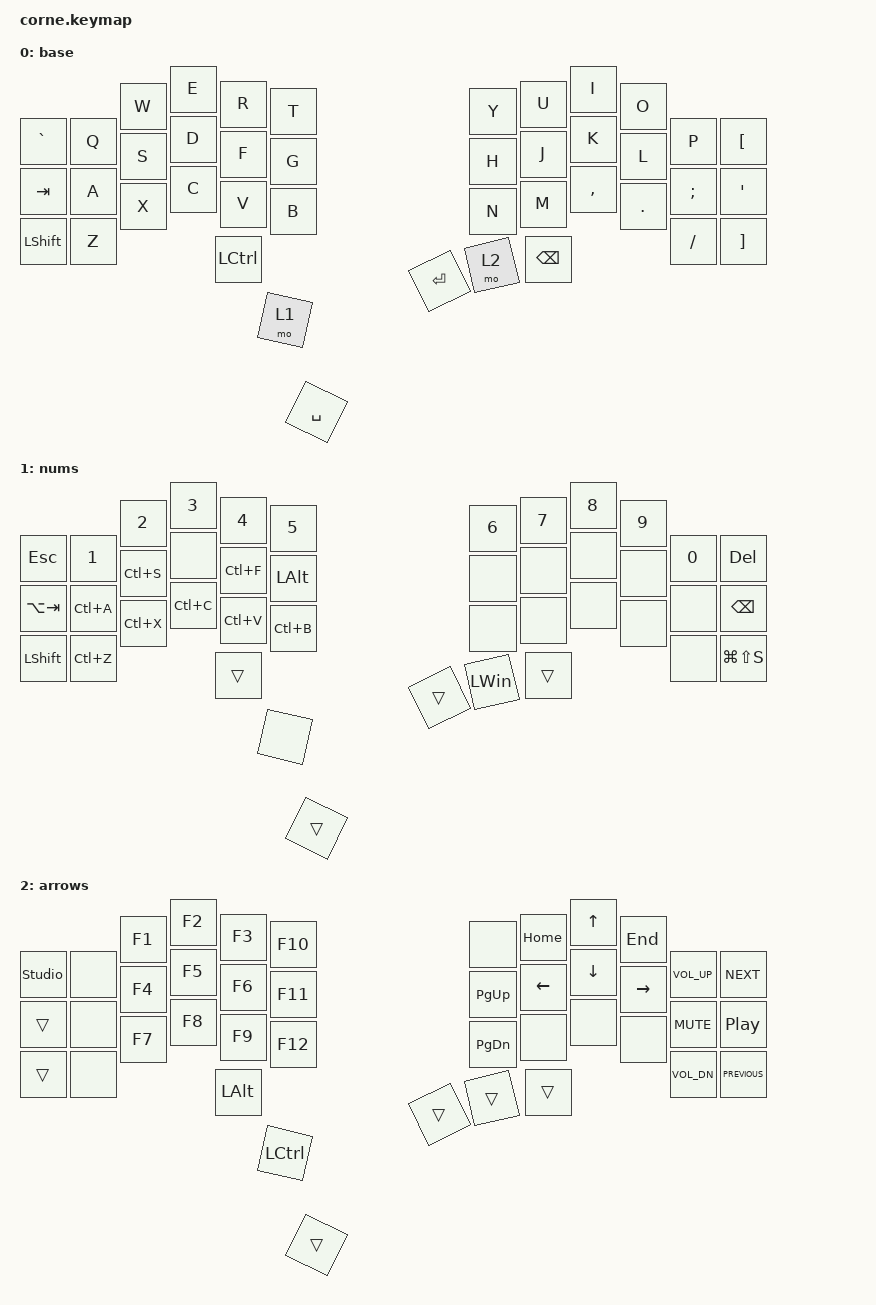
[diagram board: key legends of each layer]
#include <behaviors.dtsi>
#include <dt-bindings/zmk/bt.h>
#include <dt-bindings/zmk/ext_power.h>
#include <dt-bindings/zmk/keys.h>
#include <dt-bindings/zmk/outputs.h>
#include <dt-bindings/zmk/rgb.h>

/ {
    combos {
        compatible = "zmk,combos";

        br_fig_l {
            bindings = <&kp LEFT_BRACE>;
            key-positions = <4 5>;
        };

        br_fig_r {
            bindings = <&kp RIGHT_BRACE>;
            key-positions = <6 7>;
        };

        br_sq_l {
            bindings = <&kp LEFT_BRACKET>;
            key-positions = <16 17>;
        };

        br_sq_r {
            bindings = <&kp RIGHT_BRACKET>;
            key-positions = <18 19>;
        };

        br_ro_l {
            bindings = <&kp LEFT_PARENTHESIS>;
            key-positions = <28 29>;
        };

        br_ro_r {
            bindings = <&kp RIGHT_PARENTHESIS>;
            key-positions = <30 31>;
        };

        und {
            bindings = <&kp UNDERSCORE>;
            key-positions = <3 4>;
        };

        min {
            bindings = <&kp MINUS>;
            key-positions = <15 16>;
        };

        rev_back {
            bindings = <&kp PIPE>;
            key-positions = <27 28>;
        };

        eq {
            bindings = <&kp EQUAL>;
            key-positions = <7 8>;
        };

        pl {
            bindings = <&kp PLUS>;
            key-positions = <19 20>;
        };

        pi {
            bindings = <&kp AMPERSAND>;
            key-positions = <31 32>;
        };
    };

    keymap {
        compatible = "zmk,keymap";

        base {
            display-name = "base";
            bindings = <
&kp GRAVE       &kp Q  &kp W  &kp E      &kp R  &kp T        &kp Y      &kp U  &kp I          &kp O       &kp P          &kp LEFT_BRACKET
&kp TAB         &kp A  &kp S  &kp D      &kp F  &kp G        &kp H      &kp J  &kp K          &kp L       &kp SEMICOLON  &kp SQT
&kp LEFT_SHIFT  &kp Z  &kp X  &kp C      &kp V  &kp B        &kp N      &kp M  &kp COMMA      &kp PERIOD  &kp SLASH      &kp RIGHT_BRACKET
                              &kp LCTRL  &mo 1  &kp SPACE    &kp ENTER  &mo 2  &kp BACKSPACE
            >;

            label = "base";
        };

        nums {
            display-name = "nums";
            bindings = <
&kp ESC         &kp NUMBER_1  &kp NUMBER_2  &kp NUMBER_3  &kp NUMBER_4  &kp N5          &kp NUMBER_6  &kp N7        &kp N8  &kp N9  &kp NUMBER_0  &kp DEL
&kp LA(TAB)     &kp LC(A)     &kp LC(S)     &none         &kp LC(F)     &kp LEFT_ALT    &none         &none         &none   &none   &none         &kp BACKSPACE
&kp LEFT_SHIFT  &kp LC(Z)     &kp LC(X)     &kp LC(C)     &kp LC(V)     &kp LC(B)       &none         &none         &none   &none   &none         &kp LG(LS(S))
                                            &trans        &none         &trans          &trans        &kp LEFT_WIN  &trans
            >;

            label = "nums";
        };

        arrows {
            display-name = "arrows";
            bindings = <
&studio_unlock  &none  &kp F1  &kp F2        &kp F3     &kp F10    &none          &kp HOME        &kp UP_ARROW    &kp END          &kp C_VOLUME_UP  &kp C_NEXT
&trans          &none  &kp F4  &kp F5        &kp F6     &kp F11    &kp PAGE_UP    &kp LEFT_ARROW  &kp DOWN_ARROW  &kp RIGHT_ARROW  &kp C_MUTE       &kp C_PP
&trans          &none  &kp F7  &kp F8        &kp F9     &kp F12    &kp PAGE_DOWN  &none           &none           &none            &kp C_VOL_DN     &kp C_PREVIOUS
                               &kp LEFT_ALT  &kp LCTRL  &trans     &trans         &trans          &trans
            >;

            label = "arrows";
        };
    };
};
